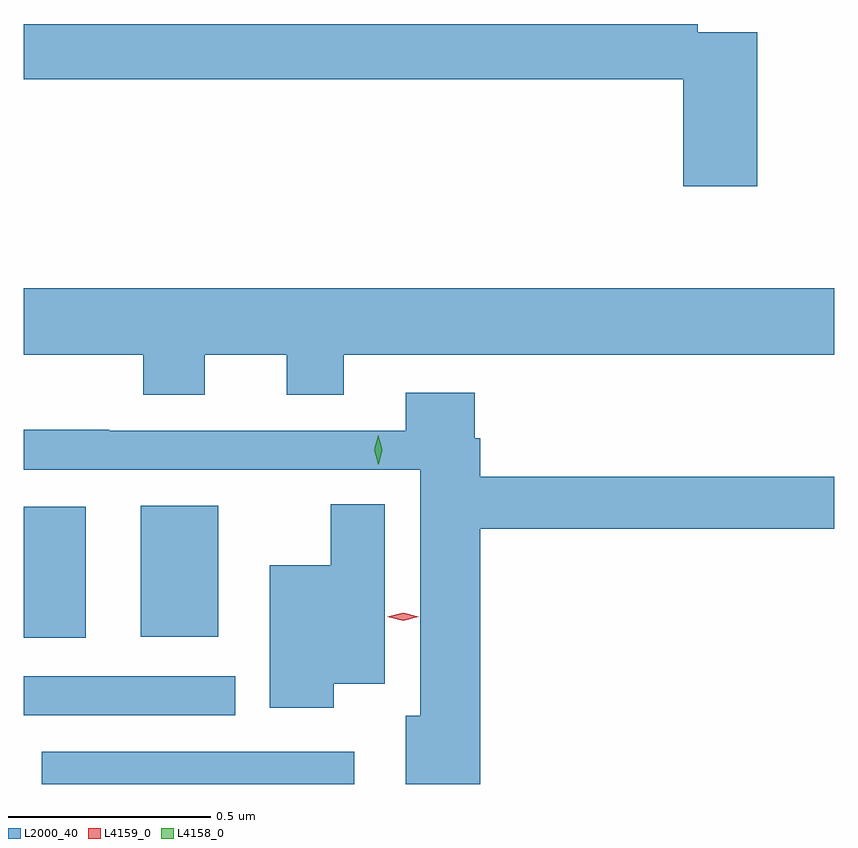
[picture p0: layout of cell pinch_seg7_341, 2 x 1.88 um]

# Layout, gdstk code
import gdstk
lib = gdstk.Library(unit=1e-6, precision=1e-09)
def R(c, l, rs):  # rectangles x0, y0, x1, y1
    for r in rs: c.add(gdstk.rectangle(r[:2], r[2:], *l))
def P(c, l, *ps):  # polygons
    for p in ps: c.add(gdstk.Polygon(p, *l))
L2000_40 = (2000, 40)
L4158_0 = (4158, 0)
L4159_0 = (4159, 0)

pinch_seg7_341 = lib.new_cell('pinch_seg7_341')
R(pinch_seg7_341, L2000_40, [(397.293,1040.848,398.065,1040.928), (397.249,1041.018,397.771,1041.114), (397.249,1041.209,397.402,1041.532), (397.538,1041.212,397.729,1041.535)])
P(pinch_seg7_341, L2000_40, [(399.059,1042.704),(398.912,1042.704),(398.912,1042.724),(397.249,1042.724),(397.249,1042.588),(398.876,1042.588),(398.876,1042.323),(399.059,1042.323)],
  [(397.696,1041.908),(397.898,1041.908),(397.898,1041.809),(398.038,1041.809),(398.038,1041.908),(399.249,1041.908),(399.249,1042.072),(397.249,1042.072),(397.249,1041.908),(397.544,1041.908),(397.544,1041.809),(397.696,1041.809)],
  [(398.375,1041.478),(399.249,1041.478),(399.249,1041.607),(398.375,1041.607),(398.375,1041.701),(398.362,1041.701),(398.362,1041.814),(398.192,1041.814),(398.192,1041.72),(397.46,1041.72),(397.46,1041.722),(397.249,1041.722),(397.249,1041.624),(398.228,1041.624),(398.228,1041.016),(398.192,1041.016),(398.192,1040.848),(398.375,1040.848)],
  [(398.014,1041.095),(398.14,1041.095),(398.14,1041.539),(398.006,1041.539),(398.006,1041.388),(397.856,1041.388),(397.856,1041.036),(398.014,1041.036)])
P(pinch_seg7_341, L4158_0, [(398.124,1041.637),(398.114,1041.673),(398.124,1041.709),(398.124,1041.709),(398.124,1041.709),(398.134,1041.673),(398.125,1041.637),(398.125,1041.637)])
P(pinch_seg7_341, L4159_0, [(398.185,1041.251),(398.146,1041.261),(398.146,1041.261),(398.146,1041.261),(398.185,1041.271),(398.224,1041.261),(398.224,1041.261),(398.224,1041.261)])

lib.write_gds('pinch_seg7_341.gds')
